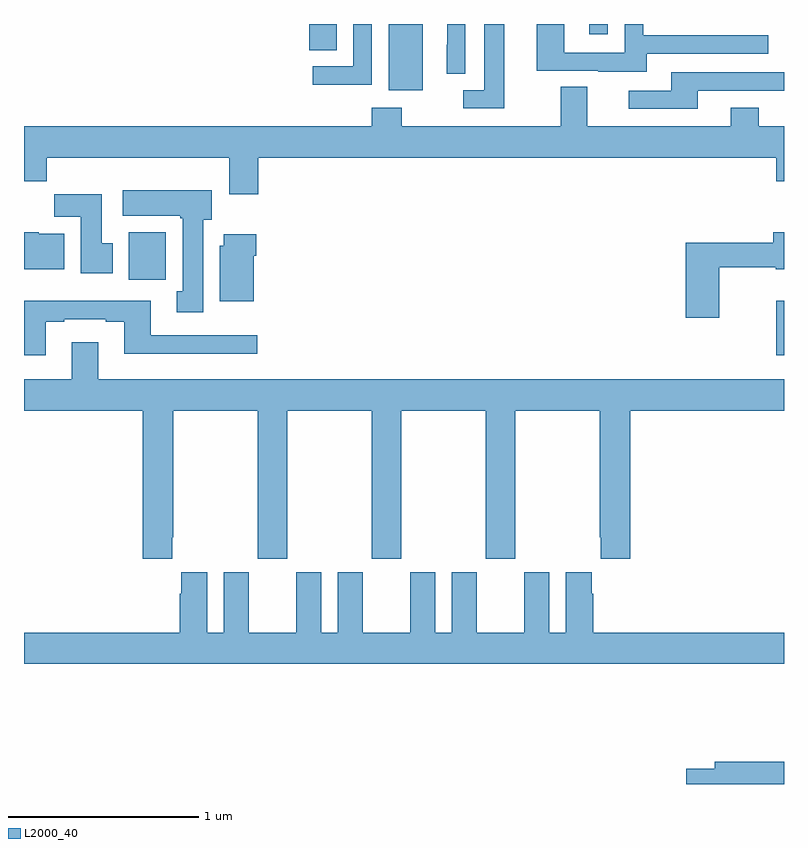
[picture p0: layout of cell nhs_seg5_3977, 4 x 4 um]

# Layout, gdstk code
import gdstk
lib = gdstk.Library(unit=1e-6, precision=1e-09)
def R(c, l, rs):  # rectangles x0, y0, x1, y1
    for r in rs: c.add(gdstk.rectangle(r[:2], r[2:], *l))
def P(c, l, *ps):  # polygons
    for p in ps: c.add(gdstk.Polygon(p, *l))
L2000_40 = (2000, 40)

nhs_seg5_3977 = lib.new_cell('nhs_seg5_3977')
R(nhs_seg5_3977, L2000_40, [(348.959,853.056,349,853.342), (345.551,853.452,345.747,853.702), (346.919,854.45,347.098,854.799), (346.502,854.662,346.645,854.799), (347.975,854.745,348.072,854.799)])
P(nhs_seg5_3977, L2000_40, [(346.83,854.799),(346.734,854.799),(346.734,854.577),(346.521,854.577),(346.521,854.479),(346.83,854.479)],
  [(348.277,854.643),(348.917,854.643),(348.917,854.739),(348.258,854.739),(348.258,854.799),(348.162,854.799),(348.162,854.649),(347.844,854.649),(347.844,854.799),(347.699,854.799),(347.699,854.553),(348.023,854.553),(348.023,854.549),(348.277,854.549)],
  [(347.322,854.799),(347.228,854.799),(347.228,854.69),(347.226,854.69),(347.226,854.536),(347.322,854.536)],
  [(347.527,854.799),(347.423,854.799),(347.423,854.451),(347.313,854.451),(347.313,854.355),(347.527,854.355)],
  [(348.547,854.448),(349,854.448),(349,854.544),(348.407,854.544),(348.407,854.448),(348.183,854.448),(348.183,854.352),(348.547,854.352)],
  [(346.232,854.096),(348.959,854.096),(348.959,853.972),(349,853.972),(349,854.26),(348.867,854.26),(348.867,854.359),(348.719,854.359),(348.719,854.26),(347.965,854.26),(347.965,854.468),(347.825,854.468),(347.825,854.26),(346.989,854.26),(346.989,854.359),(346.829,854.359),(346.829,854.26),(345,854.26),(345,853.972),(345.119,853.972),(345.119,854.096),(346.079,854.096),(346.079,853.902),(346.232,853.902)],
  [(345.943,853.77),(345.988,853.77),(345.988,853.924),(345.519,853.924),(345.519,853.79),(345.823,853.79),(345.823,853.777),(345.836,853.777),(345.836,853.393),(345.803,853.393),(345.803,853.281),(345.943,853.281)],
  [(345.466,853.644),(345.409,853.644),(345.409,853.903),(345.16,853.903),(345.16,853.784),(345.299,853.784),(345.299,853.488),(345.466,853.488)],
  [(345.211,853.696),(345.078,853.696),(345.078,853.702),(345,853.702),(345,853.508),(345.211,853.508)],
  [(348.66,853.519),(348.956,853.519),(348.956,853.508),(349,853.508),(349,853.702),(348.944,853.702),(348.944,853.648),(348.482,853.648),(348.482,853.254),(348.66,853.254)],
  [(346.21,853.58),(346.223,853.58),(346.223,853.693),(346.052,853.693),(346.052,853.632),(346.031,853.632),(346.031,853.34),(346.21,853.34)],
  [(345.115,853.233),(345.211,853.233),(345.211,853.245),(345.431,853.245),(345.431,853.233),(345.527,853.233),(345.527,853.064),(346.228,853.064),(346.228,853.161),(345.667,853.161),(345.667,853.342),(345,853.342),(345,853.056),(345.115,853.056)],
  [(345.781,852.097),(345.786,852.097),(345.786,852.764),(346.231,852.764),(346.231,851.985),(346.386,851.985),(346.386,852.764),(346.831,852.764),(346.831,851.985),(346.986,851.985),(346.986,852.764),(347.431,852.764),(347.431,851.985),(347.586,851.985),(347.586,852.764),(348.031,852.764),(348.031,852.097),(348.035,852.097),(348.035,851.985),(348.191,851.985),(348.191,852.764),(349,852.764),(349,852.928),(345.391,852.928),(345.391,853.123),(345.251,853.123),(345.251,852.928),(345,852.928),(345,852.764),(345.626,852.764),(345.626,851.985),(345.781,851.985)],
  [(349,851.596),(347.996,851.596),(347.996,851.801),(347.989,851.801),(347.989,851.914),(347.852,851.914),(347.852,851.596),(347.764,851.596),(347.764,851.914),(347.633,851.914),(347.633,851.596),(347.383,851.596),(347.383,851.914),(347.252,851.914),(347.252,851.596),(347.164,851.596),(347.164,851.914),(347.033,851.914),(347.033,851.596),(346.783,851.596),(346.783,851.914),(346.652,851.914),(346.652,851.596),(346.564,851.596),(346.564,851.914),(346.433,851.914),(346.433,851.596),(346.183,851.596),(346.183,851.914),(346.052,851.914),(346.052,851.596),(345.964,851.596),(345.964,851.914),(345.827,851.914),(345.827,851.801),(345.821,851.801),(345.821,851.596),(345,851.596),(345,851.432),(349,851.432)],
  [(349,850.916),(348.635,850.916),(348.635,850.88),(348.486,850.88),(348.486,850.799),(349,850.799)])

lib.write_gds('nhs_seg5_3977.gds')
